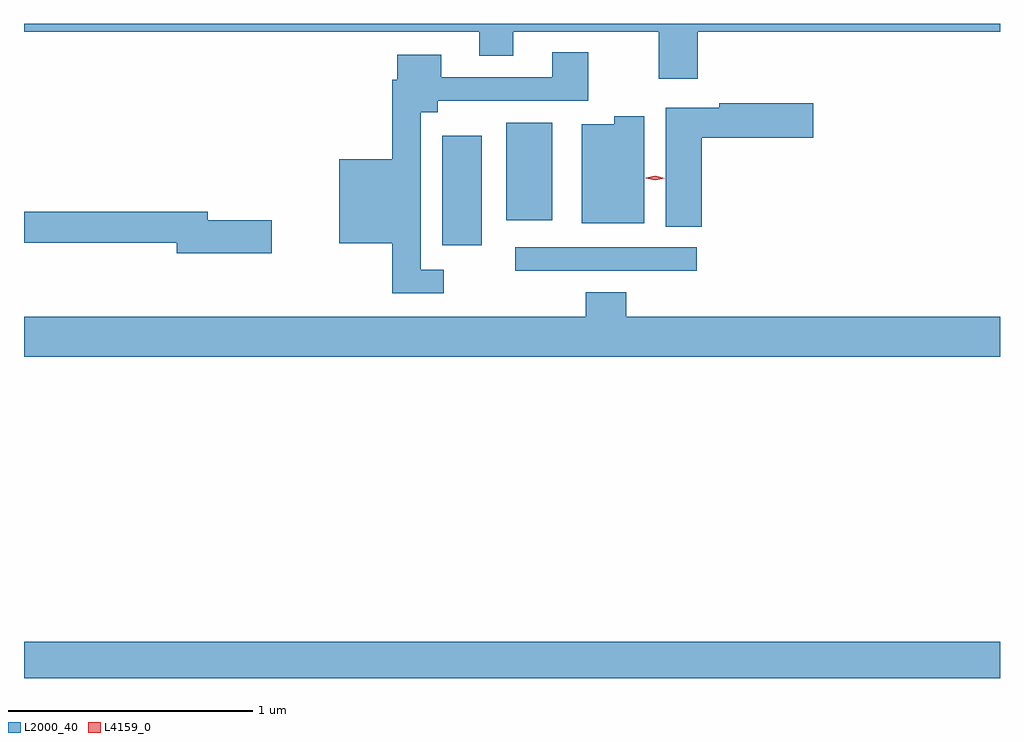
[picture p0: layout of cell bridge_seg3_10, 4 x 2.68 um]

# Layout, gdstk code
import gdstk
lib = gdstk.Library(unit=1e-6, precision=1e-09)
def R(c, l, rs):  # rectangles x0, y0, x1, y1
    for r in rs: c.add(gdstk.rectangle(r[:2], r[2:], *l))
def P(c, l, *ps):  # polygons
    for p in ps: c.add(gdstk.Polygon(p, *l))
L2000_40 = (2000, 40)
L4159_0 = (4159, 0)

bridge_seg3_10 = lib.new_cell('bridge_seg3_10')
R(bridge_seg3_10, L2000_40, [(685.752,746.218,689.752,746.368), (687.765,747.888,688.51,747.984), (687.467,747.993,687.628,748.441), (687.728,748.094,687.916,748.495)])
P(bridge_seg3_10, L2000_40, [(688.514,748.868),(689.752,748.868),(689.752,748.9),(685.752,748.9),(685.752,748.868),(687.617,748.868),(687.617,748.769),(687.757,748.769),(687.757,748.868),(688.354,748.868),(688.354,748.674),(688.514,748.674)],
  [(687.472,747.891),(687.379,747.891),(687.379,748.241),(687.378,748.241),(687.378,748.538),(687.448,748.538),(687.448,748.584),(688.065,748.584),(688.065,748.783),(687.917,748.783),(687.917,748.68),(687.463,748.68),(687.463,748.774),(687.281,748.774),(687.281,748.67),(687.262,748.67),(687.262,748.345),(687.044,748.345),(687.044,748.001),(687.262,748.001),(687.262,747.795),(687.472,747.795)],
  [(688.529,748.433),(688.987,748.433),(688.987,748.575),(688.602,748.575),(688.602,748.555),(688.382,748.555),(688.382,748.069),(688.529,748.069)],
  [(688.294,748.522),(688.172,748.522),(688.172,748.489),(688.037,748.489),(688.037,748.082),(688.294,748.082)],
  [(686.767,748.094),(686.506,748.094),(686.506,748.13),(685.752,748.13),(685.752,748.002),(686.378,748.002),(686.378,747.959),(686.767,747.959)],
  [(689.752,747.7),(688.22,747.7),(688.22,747.799),(688.055,747.799),(688.055,747.7),(685.752,747.7),(685.752,747.536),(689.752,747.536)])
P(bridge_seg3_10, L4159_0, [(688.339,748.258),(688.301,748.268),(688.301,748.268),(688.301,748.269),(688.339,748.278),(688.377,748.268),(688.378,748.267),(688.377,748.267)])

lib.write_gds('bridge_seg3_10.gds')
